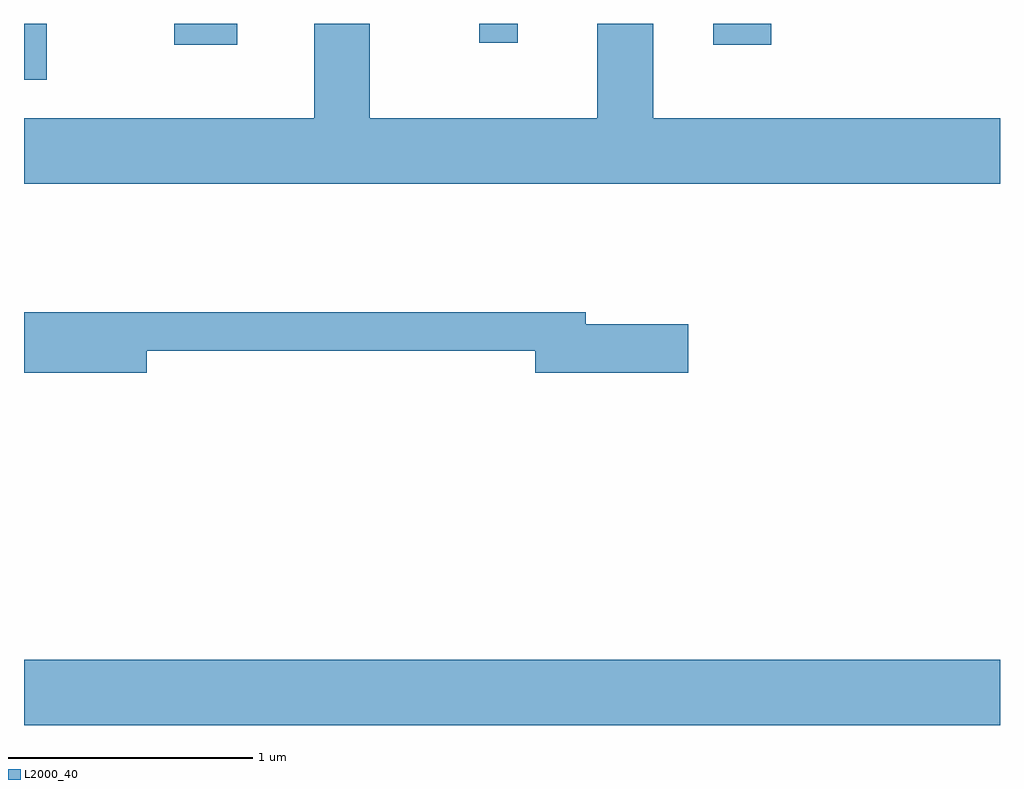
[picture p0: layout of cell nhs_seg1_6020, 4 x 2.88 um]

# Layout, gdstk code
import gdstk
lib = gdstk.Library(unit=1e-6, precision=1e-09)
def R(c, l, rs):  # rectangles x0, y0, x1, y1
    for r in rs: c.add(gdstk.rectangle(r[:2], r[2:], *l))
def P(c, l, *ps):  # polygons
    for p in ps: c.add(gdstk.Polygon(p, *l))
L2000_40 = (2000, 40)

nhs_seg1_6020 = lib.new_cell('nhs_seg1_6020')
R(nhs_seg1_6020, L2000_40, [(365.611,972.836,369.611,973.104), (365.611,975.481,365.704,975.712), (366.226,975.626,366.484,975.712), (368.436,975.626,368.674,975.712), (367.476,975.633,367.634,975.712)])
P(nhs_seg1_6020, L2000_40, [(369.611,975.324),(368.189,975.324),(368.189,975.712),(367.961,975.712),(367.961,975.324),(367.029,975.324),(367.029,975.712),(366.801,975.712),(366.801,975.324),(365.611,975.324),(365.611,975.056),(369.611,975.056)],
  [(366.114,974.371),(367.706,974.371),(367.706,974.281),(368.334,974.281),(368.334,974.479),(367.914,974.479),(367.914,974.529),(365.611,974.529),(365.611,974.281),(366.114,974.281)])

lib.write_gds('nhs_seg1_6020.gds')
